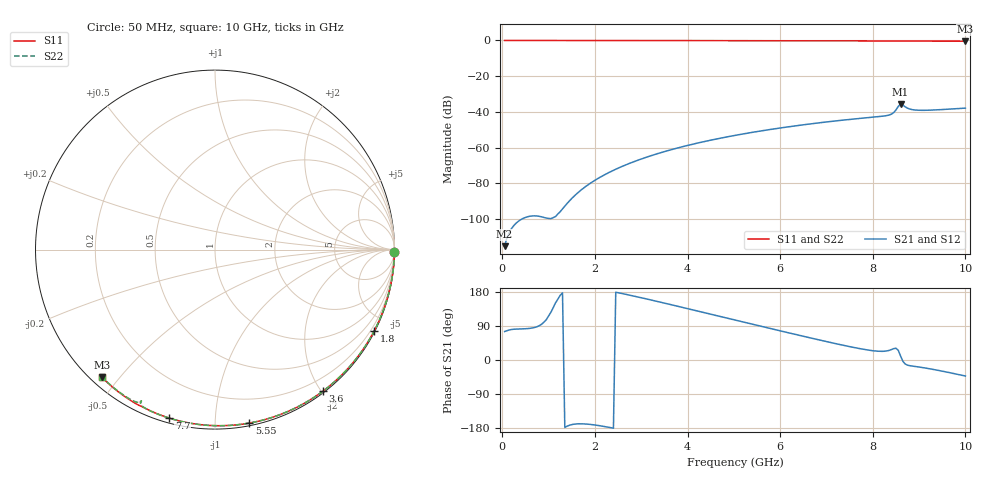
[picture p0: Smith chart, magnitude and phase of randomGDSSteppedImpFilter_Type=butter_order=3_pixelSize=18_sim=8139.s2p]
! freq	dB(S11)	phase(S11)	dB(S12)	phase(S12)
!  dB(S21)	phase(S21)	dB(S22)	phase(S22)
!S-par simulation data
#  GHz  S  DB  R 50
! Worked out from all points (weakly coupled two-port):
!   200 points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, 50 MHz to 10 GHz, reference 50 ohm
!   highest |S21| = -35.72 dB at 8.6 GHz (marker M1); lowest = -115.2 dB at 50 MHz (marker M2)
!   lowest |S11| = -0.4 dB at 10 GHz (marker M3), VSWR 39.37, Z = 1.53 - j22.5 ohm
!   |S11| at or under -10 dB: nowhere
!   |S22| runs from -0.6 to 0.0 dB; largest |S21 - S12| = 0
!   S11 on the Smith chart (normalised r, x): 50 MHz: open; 1.8 GHz: 0.04, -4.17; 3.6 GHz: 0.02, -2.02; 5.55 GHz: 0.02, -1.22; 7.7 GHz: 0.02, -0.76; 10 GHz: 0.03, -0.45
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0.05  -0.00 -0.8  -115.18 75.2  -115.18 75.2  -0.00 -0.8
0.9  -0.02 -13.6  -99.11 99.9  -99.11 99.9  -0.02 -13.6
1.75  -0.03 -26.2  -82.75 -168.5  -82.75 -168.5  -0.03 -26.3
1.8  -0.03 -27.0  -81.78 -168.9  -81.78 -168.9  -0.03 -27.0
1.9  -0.04 -28.4  -79.97 -170.0  -79.97 -170.0  -0.04 -28.5
2.25  -0.04 -33.5  -74.63 -176.5  -74.63 -176.5  -0.04 -33.6
2.65  -0.05 -39.3  -69.84 173.8  -69.84 173.8  -0.05 -39.4
3.4  -0.07 -49.9  -63.00 153.0  -63.00 153.0  -0.07 -50.0
3.6  -0.07 -52.7  -61.50 147.3  -61.50 147.3  -0.07 -52.8
4.3  -0.09 -62.3  -56.96 126.8  -56.96 126.8  -0.09 -62.4
5.05  -0.11 -72.3  -53.03 104.7  -53.03 104.7  -0.11 -72.4
5.55  -0.13 -78.8  -50.81 90.1  -50.81 90.1  -0.13 -78.9
6.7  -0.18 -93.2  -46.57 57.0  -46.57 57.0  -0.18 -93.3
7.7  -0.24 -105.2  -43.70 30.5  -43.70 30.5  -0.24 -105.4
8.35  -0.29 -112.8  -41.79 25.2  -41.79 25.2  -0.30 -113.4
8.45  -0.30 -113.9  -40.43 29.9  -40.43 29.9  -0.34 -114.9
8.55  -0.31 -115.0  -36.94 25.6  -36.94 25.6  -0.49 -116.2
8.6  -0.31 -115.5  -35.72 10.5  -35.72 10.5  -0.57 -116.0
8.8  -0.32 -117.9  -38.41 -15.0  -38.41 -15.0  -0.39 -117.5
8.95  -0.33 -119.7  -39.02 -17.7  -39.02 -17.7  -0.37 -119.4
9.3  -0.37 -123.7  -38.96 -24.7  -38.96 -24.7  -0.39 -123.6
10  -0.44 -131.6  -37.89 -42.3  -37.89 -42.3  -0.45 -131.6
